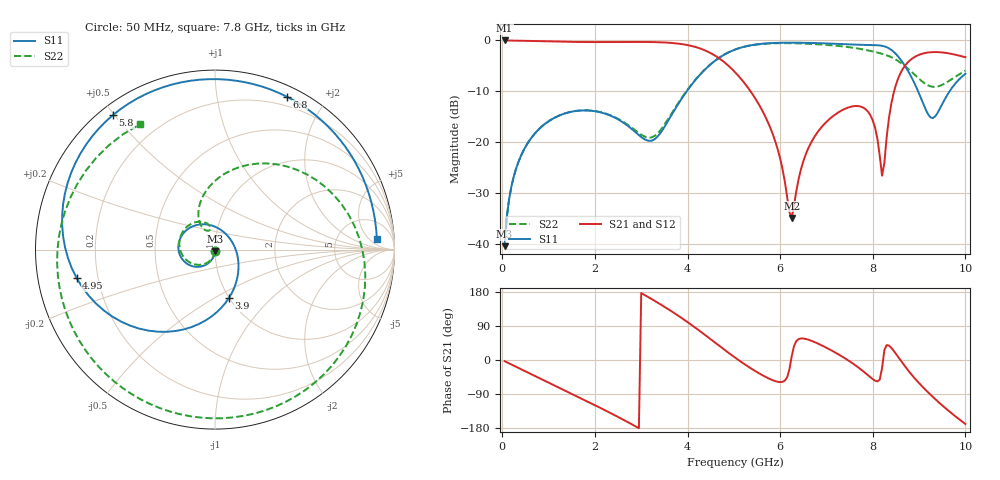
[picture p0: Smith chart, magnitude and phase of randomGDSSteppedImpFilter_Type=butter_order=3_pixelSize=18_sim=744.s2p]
! freq	dB(S11)	phase(S11)	dB(S12)	phase(S12)
!  dB(S21)	phase(S21)	dB(S22)	phase(S22)
!S-par simulation data
#  GHz  S  DB  R 50
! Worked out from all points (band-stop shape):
!   200 points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, 50 MHz to 10 GHz, reference 50 ohm
!   highest |S21| = -0.01 dB at 50 MHz (marker M1); lowest = -34.9 dB at 6.25 GHz (marker M2)
!   |S21| within 3 dB of the highest: start of sweep to 4.598 GHz; 8.955 GHz to 9.874 GHz (918.3 MHz wide, 9.75 % of centre)
!   lowest |S11| = -40.4 dB at 50 MHz (marker M3), VSWR 1.02, Z = 50 - j0.952 ohm
!   |S11| at or under -10 dB: start of sweep to 3.982 GHz; 8.979 GHz to 9.659 GHz (679.9 MHz wide, 7.3 % of centre)
!   |S22| runs from -40.4 to -0.5 dB; largest |S21 - S12| = 0
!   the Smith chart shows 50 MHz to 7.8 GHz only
!   S11 on the Smith chart (normalised r, x): 50 MHz: 1.00, -0.02; 3.9 GHz: 1.00, -0.58; 4.95 GHz: 0.12, -0.10; 5.8 GHz: 0.04, +0.50; 6.8 GHz: 0.10, +1.57; 7.8 GHz: 14, +9
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0.05  -40.42 -91.6  -0.01 -3.1  -0.01 -3.1  -40.43 -91.9
0.2  -28.56 -101.0  -0.03 -12.1  -0.03 -12.1  -28.56 -102.8
0.5  -20.92 -118.2  -0.08 -30.0  -0.08 -30.0  -20.93 -122.6
1.75  -13.75 172.5  -0.31 -104.2  -0.31 -104.2  -13.74 157.9
2.7  -16.72 107.0  -0.30 -163.3  -0.30 -163.3  -16.52 106.1
3.4  -18.37 -6.5  -0.36 148.0  -0.36 148.0  -17.81 118.3
3.9  -11.07 -73.7  -0.75 108.5  -0.75 108.5  -10.94 106.0
4.5  -4.69 -129.2  -2.49 54.8  -2.49 54.8  -4.65 54.3
4.95  -2.08 -168.4  -5.54 13.1  -5.54 13.1  -2.07 9.6
5.05  -1.72 -176.8  -6.47 4.2  -6.47 4.2  -1.71 -0.1
5.8  -0.53 127.2  -17.46 -51.3  -17.46 -51.3  -0.58 -65.0
6.25  -0.44 98.1  -34.87 10.1  -34.87 10.1  -0.55 -98.6
6.7  -0.50 70.8  -19.55 49.5  -19.55 49.5  -0.70 -131.1
6.8  -0.53 64.9  -18.13 44.2  -18.13 44.2  -0.76 -138.5
7.35  -0.72 32.2  -13.66 8.2  -13.66 8.2  -1.18 175.6
7.8  -0.88 3.9  -13.24 -30.4  -13.24 -30.4  -1.79 121.0
8.2  -1.06 -28.8  -26.58 -22.1  -26.58 -22.1  -2.63 34.8
8.35  -1.56 -45.3  -15.21 38.1  -15.21 38.1  -3.10 -10.4
8.6  -3.76 -75.3  -6.40 -1.1  -6.40 -1.1  -4.37 -83.2
8.85  -7.48 -106.6  -3.57 -40.4  -3.57 -40.4  -6.28 -133.7
9.2  -14.61 -179.1  -2.37 -86.1  -2.37 -86.1  -8.85 -167.1
10  -6.56 35.6  -3.30 -168.9  -3.30 -168.9  -5.96 144.7
